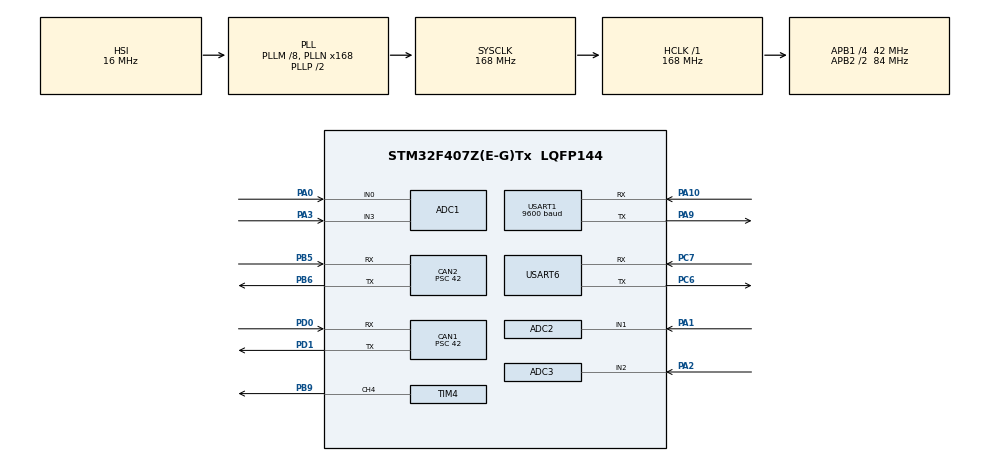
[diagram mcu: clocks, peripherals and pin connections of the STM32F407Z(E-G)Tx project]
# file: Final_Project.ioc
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ADC1.Channel-1\#ChannelRegularConversion=ADC_CHANNEL_0
ADC1.Channel-2\#ChannelRegularConversion=ADC_CHANNEL_3
ADC1.ContinuousConvMode=ENABLE
ADC1.DMAContinuousRequests=ENABLE
ADC1.NbrOfConversion=2
ADC1.NbrOfConversionFlag=1
ADC1.Rank-1\#ChannelRegularConversion=1
ADC1.Rank-2\#ChannelRegularConversion=2
ADC1.SamplingTime-1\#ChannelRegularConversion=ADC_SAMPLETIME_56CYCLES
ADC1.SamplingTime-2\#ChannelRegularConversion=ADC_SAMPLETIME_56CYCLES
ADC1.master=1
ADC2.Channel-0\#ChannelRegularConversion=ADC_CHANNEL_1
ADC2.ContinuousConvMode=ENABLE
ADC2.DMAContinuousRequests=ENABLE
ADC2.NbrOfConversionFlag=1
ADC2.Rank-0\#ChannelRegularConversion=1
ADC2.SamplingTime-0\#ChannelRegularConversion=ADC_SAMPLETIME_56CYCLES
ADC3.Channel-1\#ChannelRegularConversion=ADC_CHANNEL_2
ADC3.ContinuousConvMode=ENABLE
ADC3.DMAContinuousRequests=ENABLE
ADC3.NbrOfConversionFlag=1
ADC3.Rank-1\#ChannelRegularConversion=1
ADC3.SamplingTime-1\#ChannelRegularConversion=ADC_SAMPLETIME_56CYCLES
CAN1.CalculateBaudRate=333333
CAN1.CalculateTimeBit=3000
CAN1.CalculateTimeQuantum=1000.0
CAN1.NART=ENABLE
CAN1.Prescaler=42
CAN2.CalculateBaudRate=333333
CAN2.CalculateTimeBit=3000
CAN2.CalculateTimeQuantum=1000.0
CAN2.NART=ENABLE
CAN2.Prescaler=42
Dma.ADC1.0.Direction=DMA_PERIPH_TO_MEMORY
Dma.ADC1.0.FIFOMode=DMA_FIFOMODE_DISABLE
Dma.ADC1.0.Instance=DMA2_Stream0
Dma.ADC1.0.MemDataAlignment=DMA_MDATAALIGN_HALFWORD
Dma.ADC1.0.MemInc=DMA_MINC_ENABLE
Dma.ADC1.0.Mode=DMA_CIRCULAR
Dma.ADC1.0.PeriphDataAlignment=DMA_PDATAALIGN_HALFWORD
Dma.ADC1.0.PeriphInc=DMA_PINC_DISABLE
Dma.ADC1.0.Priority=DMA_PRIORITY_LOW
Dma.ADC2.1.Direction=DMA_PERIPH_TO_MEMORY
Dma.ADC2.1.FIFOMode=DMA_FIFOMODE_DISABLE
Dma.ADC2.1.Instance=DMA2_Stream2
Dma.ADC2.1.MemDataAlignment=DMA_MDATAALIGN_HALFWORD
Dma.ADC2.1.MemInc=DMA_MINC_ENABLE
Dma.ADC2.1.Mode=DMA_CIRCULAR
Dma.ADC2.1.PeriphDataAlignment=DMA_PDATAALIGN_HALFWORD
Dma.ADC2.1.PeriphInc=DMA_PINC_DISABLE
Dma.ADC2.1.Priority=DMA_PRIORITY_LOW
Dma.ADC3.2.Direction=DMA_PERIPH_TO_MEMORY
Dma.ADC3.2.FIFOMode=DMA_FIFOMODE_DISABLE
Dma.ADC3.2.Instance=DMA2_Stream1
Dma.ADC3.2.MemDataAlignment=DMA_MDATAALIGN_HALFWORD
Dma.ADC3.2.MemInc=DMA_MINC_ENABLE
Dma.ADC3.2.Mode=DMA_CIRCULAR
Dma.ADC3.2.PeriphDataAlignment=DMA_PDATAALIGN_HALFWORD
Dma.ADC3.2.PeriphInc=DMA_PINC_DISABLE
Dma.ADC3.2.Priority=DMA_PRIORITY_LOW
Dma.Request0=ADC1
Dma.Request1=ADC2
Dma.Request2=ADC3
Dma.Request3=USART1_RX
Dma.Request4=USART1_TX
Dma.USART1_RX.3.Direction=DMA_PERIPH_TO_MEMORY
Dma.USART1_RX.3.FIFOMode=DMA_FIFOMODE_DISABLE
Dma.USART1_RX.3.Instance=DMA2_Stream5
Dma.USART1_RX.3.MemDataAlignment=DMA_MDATAALIGN_BYTE
Dma.USART1_RX.3.MemInc=DMA_MINC_ENABLE
Dma.USART1_RX.3.Mode=DMA_NORMAL
Dma.USART1_RX.3.PeriphDataAlignment=DMA_PDATAALIGN_BYTE
Dma.USART1_RX.3.PeriphInc=DMA_PINC_DISABLE
Dma.USART1_RX.3.Priority=DMA_PRIORITY_LOW
Dma.USART1_TX.4.Direction=DMA_MEMORY_TO_PERIPH
Dma.USART1_TX.4.FIFOMode=DMA_FIFOMODE_DISABLE
Dma.USART1_TX.4.Instance=DMA2_Stream7
Dma.USART1_TX.4.MemDataAlignment=DMA_MDATAALIGN_BYTE
Dma.USART1_TX.4.MemInc=DMA_MINC_ENABLE
Dma.USART1_TX.4.Mode=DMA_NORMAL
Dma.USART1_TX.4.PeriphDataAlignment=DMA_PDATAALIGN_BYTE
Dma.USART1_TX.4.PeriphInc=DMA_PINC_DISABLE
Dma.USART1_TX.4.Priority=DMA_PRIORITY_LOW
FREERTOS.Tasks01=can1_Task,24,640,Start_can1_Task,Default,NULL,Dynamic,NULL,NULL;uart6_Task,24,640,Start_uart6_Task,Default,NULL,Dynamic,NULL,NULL;light_Task,16,256,Start_light_Task,Default,NULL,Dynamic,NULL,NULL
FREERTOS.configTOTAL_HEAP_SIZE=40*1024
FREERTOS.configUSE_NEWLIB_REENTRANT=1
Mcu.Family=STM32F4
Mcu.Name=STM32F407Z(E-G)Tx
Mcu.Package=LQFP144
NVIC.DMA2_Stream0_IRQn=true\:5\:0\:false\:false\:true\:true\:false\:true\:true
NVIC.DMA2_Stream1_IRQn=true\:5\:0\:false\:false\:true\:true\:false\:true\:true
NVIC.DMA2_Stream2_IRQn=true\:5\:0\:false\:false\:true\:true\:false\:true\:true
NVIC.DMA2_Stream5_IRQn=true\:5\:0\:false\:false\:true\:true\:false\:true\:true
NVIC.DMA2_Stream7_IRQn=true\:5\:0\:false\:false\:true\:true\:false\:true\:true
NVIC.PriorityGroup=NVIC_PRIORITYGROUP_4
NVIC.TIM1_UP_TIM10_IRQn=true\:15\:0\:false\:false\:true\:false\:false\:true\:true
NVIC.TimeBase=TIM1_UP_TIM10_IRQn
NVIC.TimeBaseIP=TIM1
NVIC.USART1_IRQn=true\:5\:0\:false\:false\:true\:true\:false\:true\:true
PA0-WKUP.Signal=ADCx_IN0
PA1.Signal=ADCx_IN1
PA10.Mode=Asynchronous
PA10.Signal=USART1_RX
PA13.Mode=Serial_Wire
PA13.Signal=SYS_JTMS-SWDIO
PA14.Mode=Serial_Wire
PA14.Signal=SYS_JTCK-SWCLK
PA2.Signal=ADCx_IN2
PA3.Signal=ADCx_IN3
PA9.Mode=Asynchronous
PA9.Signal=USART1_TX
PB5.Mode=CAN_Activate
PB5.Signal=CAN2_RX
PB6.Mode=CAN_Activate
PB6.Signal=CAN2_TX
PB9.Signal=S_TIM4_CH4
PC6.Mode=Asynchronous
PC6.Signal=USART6_TX
PC7.Mode=Asynchronous
PC7.Signal=USART6_RX
PD0.Mode=CAN_Activate
PD0.Signal=CAN1_RX
PD1.Mode=CAN_Activate
PD1.Signal=CAN1_TX
PH0-OSC_IN.Mode=HSE-External-Oscillator
PH0-OSC_IN.Signal=RCC_OSC_IN
PH1-OSC_OUT.Mode=HSE-External-Oscillator
PH1-OSC_OUT.Signal=RCC_OSC_OUT
ProjectManager.HeapSize=0x2000
ProjectManager.StackSize=0x1000
ProjectManager.TargetToolchain=STM32CubeIDE
RCC.48MHZClocksFreq_Value=84000000
RCC.AHBFreq_Value=168000000
RCC.APB1CLKDivider=RCC_HCLK_DIV4
RCC.APB1Freq_Value=42000000
RCC.APB1TimFreq_Value=84000000
RCC.APB2CLKDivider=RCC_HCLK_DIV2
RCC.APB2Freq_Value=84000000
RCC.APB2TimFreq_Value=168000000
RCC.CortexFreq_Value=168000000
RCC.HCLKFreq_Value=168000000
RCC.HSE_VALUE=8000000
RCC.HSI_VALUE=16000000
RCC.LSE_VALUE=32768
RCC.PLLM=8
RCC.PLLN=168
RCC.SYSCLKFreq_VALUE=168000000
RCC.SYSCLKSource=RCC_SYSCLKSOURCE_PLLCLK
RCC.VCOOutputFreq_Value=336000000
SH.ADCx_IN0.0=ADC1_IN0,IN0
SH.ADCx_IN1.0=ADC2_IN1,IN1
SH.ADCx_IN2.0=ADC3_IN2,IN2
SH.ADCx_IN3.0=ADC1_IN3,IN3
SH.S_TIM4_CH4.0=TIM4_CH4,PWM Generation4 CH4
TIM4.Channel-PWM\ Generation4\ CH4=TIM_CHANNEL_4
TIM4.Period=1000-1
TIM4.Prescaler=168-1
TIM6.Prescaler=168-1
USART1.BaudRate=9600
USART1.VirtualMode=VM_ASYNC
USART6.VirtualMode=VM_ASYNC
VP_FREERTOS_VS_CMSIS_V2.Mode=CMSIS_V2
VP_SYS_VS_tim1.Mode=TIM1
VP_TIM6_VS_ClockSourceINT.Mode=Enable_Timer
board=custom

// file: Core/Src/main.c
/* USER CODE BEGIN Header */
/**
  ******************************************************************************
  * @file           : main.c
  * @brief          : Main program body
  ******************************************************************************
  * @attention
  *
  * Copyright (c) 2025 STMicroelectronics.
  * All rights reserved.
  *
  * This software is licensed under terms that can be found in the LICENSE file
  * in the root directory of this software component.
  * If no LICENSE file comes with this software, it is provided AS-IS.
  *
  ******************************************************************************
  */
/* USER CODE END Header */
#include "main.h"
#include "cmsis_os.h"
#include "adc.h"
#include "can.h"
#include "dma.h"
#include "tim.h"
#include "usart.h"
#include "gpio.h"

/* USER CODE BEGIN Includes */
#include"../../bsp/can_ex.h"
/* USER CODE END Includes */

/* USER CODE BEGIN PV */
uint32_t adc_buffer_1[2]; //ADC1 IN0 + ADC1 IN3
uint32_t adc_buffer_2[1]; //ADC2 IN1
uint32_t adc_buffer_3[1]; //ADC3 IN2
uint8_t rx_buffer[10];
/* USER CODE END PV */

void SystemClock_Config(void);
void MX_FREERTOS_Init(void);

int main(void)
{

  /* MCU Configuration--------------------------------------------------------*/

  /* Reset of all peripherals, Initializes the Flash interface and the Systick. */
  HAL_Init();

  /* Configure the system clock */
  SystemClock_Config();

  /* Initialize all configured peripherals */
  MX_GPIO_Init();
  MX_DMA_Init();
  MX_TIM4_Init();
  MX_ADC1_Init();
  MX_ADC2_Init();
  MX_ADC3_Init();
  MX_USART1_UART_Init();
  MX_TIM6_Init();
  MX_CAN1_Init();
  MX_CAN2_Init();
  MX_USART6_UART_Init();
  /* USER CODE BEGIN 2 */

  //breathing lamp
  HAL_TIM_PWM_Start(&htim4, TIM_CHANNEL_4);

  //TTL read
  HAL_ADC_Start_DMA(&hadc1, adc_buffer_1, 2); //adc[0]: rank1; adc[1]: rank2.
  HAL_ADC_Start_DMA(&hadc2, adc_buffer_2, 1);
  HAL_ADC_Start_DMA(&hadc3, adc_buffer_3, 1);
  HAL_UARTEx_ReceiveToIdle_DMA(&huart1, rx_buffer, 10);

  //CAN init
  CAN1_TxHeaderType_Init(CAN_ID_STD,0x200,0x00);   //发�?�格式初始化
  CAN1_FilterTypeDef_Init();   //过滤器配置初始化
  CAN2_TxHeaderType_Init(CAN_ID_STD,0x200,0x00);
  CAN2_FilterTypeDef_Init();
  HAL_CAN_Start(&hcan1);    //�??启CAN1
  HAL_CAN_Start(&hcan2);

  /* USER CODE END 2 */

  /* Init scheduler */
  osKernelInitialize();

  /* Call init function for freertos objects (in cmsis_os2.c) */
  MX_FREERTOS_Init();

  /* Start scheduler */
  osKernelStart();

  /* We should never get here as control is now taken by the scheduler */

  /* Infinite loop */
  while (1)
  {

  }
}

void SystemClock_Config(void)
{
  RCC_OscInitTypeDef RCC_OscInitStruct = {0};
  RCC_ClkInitTypeDef RCC_ClkInitStruct = {0};

  /** Configure the main internal regulator output voltage
  */
  __HAL_RCC_PWR_CLK_ENABLE();
  __HAL_PWR_VOLTAGESCALING_CONFIG(PWR_REGULATOR_VOLTAGE_SCALE1);

  /** Initializes the RCC Oscillators according to the specified parameters
  * in the RCC_OscInitTypeDef structure.
  */
  RCC_OscInitStruct.OscillatorType = RCC_OSCILLATORTYPE_HSI;
  RCC_OscInitStruct.HSIState = RCC_HSI_ON;
  RCC_OscInitStruct.HSICalibrationValue = RCC_HSICALIBRATION_DEFAULT;
  RCC_OscInitStruct.PLL.PLLState = RCC_PLL_ON;
  RCC_OscInitStruct.PLL.PLLSource = RCC_PLLSOURCE_HSI;
  RCC_OscInitStruct.PLL.PLLM = 8;
  RCC_OscInitStruct.PLL.PLLN = 168;
  RCC_OscInitStruct.PLL.PLLP = RCC_PLLP_DIV2;
  RCC_OscInitStruct.PLL.PLLQ = 4;
  if (HAL_RCC_OscConfig(&RCC_OscInitStruct) != HAL_OK)
  {
    Error_Handler();
  }

  /** Initializes the CPU, AHB and APB buses clocks
  */
  RCC_ClkInitStruct.ClockType = RCC_CLOCKTYPE_HCLK|RCC_CLOCKTYPE_SYSCLK
                              |RCC_CLOCKTYPE_PCLK1|RCC_CLOCKTYPE_PCLK2;
  RCC_ClkInitStruct.SYSCLKSource = RCC_SYSCLKSOURCE_PLLCLK;
  RCC_ClkInitStruct.AHBCLKDivider = RCC_SYSCLK_DIV1;
  RCC_ClkInitStruct.APB1CLKDivider = RCC_HCLK_DIV4;
  RCC_ClkInitStruct.APB2CLKDivider = RCC_HCLK_DIV2;

  if (HAL_RCC_ClockConfig(&RCC_ClkInitStruct, FLASH_LATENCY_5) != HAL_OK)
  {
    Error_Handler();
  }
}

void HAL_TIM_PeriodElapsedCallback(TIM_HandleTypeDef *htim)
{
  if (htim->Instance == TIM1) {
    HAL_IncTick();
  }
}

void Error_Handler(void)
{
  __disable_irq();
  while (1)
  {
  }
}

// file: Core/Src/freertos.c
/* USER CODE BEGIN Header */
/**
  ******************************************************************************
  * File Name          : freertos.c
  * Description        : Code for freertos applications
  ******************************************************************************
  * @attention
  *
  * Copyright (c) 2025 STMicroelectronics.
  * All rights reserved.
  *
  * This software is licensed under terms that can be found in the LICENSE file
  * in the root directory of this software component.
  * If no LICENSE file comes with this software, it is provided AS-IS.
  *
  ******************************************************************************
  */
/* USER CODE END Header */

#include "FreeRTOS.h"
#include "task.h"
#include "main.h"
#include "cmsis_os.h"

/* USER CODE BEGIN Includes */
#include <string.h>

#include "../../bsp/led.h"
#include "tim.h"
#include "usart.h"
#include "../../bsp/can_ex.h"
#include "../../bsp/motor.h"
#include "../../bsp/pid.h"
/* USER CODE END Includes */

/* USER CODE BEGIN Variables */
uint8_t CAN1_Data[8] = {0};
uint8_t CAN2_Data[8] = {0};

float set_speed[4];
float set_angle[4];

enum __mode_t{
  speed_control = 0,
  angle_control
}control_mode;

extern CAN_FilterTypeDef can1_filter;
extern CAN_FilterTypeDef can2_filter;

extern CAN_TxHeaderTypeDef tx1_hdr;
extern CAN_RxHeaderTypeDef rx1_hdr;

extern CAN_TxHeaderTypeDef tx2_hdr;
extern CAN_RxHeaderTypeDef rx2_hdr;

extern uint32_t* CAN1_MailBox;
extern uint32_t* CAN2_MailBox;
/* USER CODE END Variables */
/* Definitions for can1_Task */
osThreadId_t can1_TaskHandle;
const osThreadAttr_t can1_Task_attributes = {
  .name = "can1_Task",
  .stack_size = 640 * 4,
  .priority = (osPriority_t) osPriorityNormal,
};
/* Definitions for uart6_Task */
osThreadId_t uart6_TaskHandle;
const osThreadAttr_t uart6_Task_attributes = {
  .name = "uart6_Task",
  .stack_size = 640 * 4,
  .priority = (osPriority_t) osPriorityNormal,
};
/* Definitions for light_Task */
osThreadId_t light_TaskHandle;
const osThreadAttr_t light_Task_attributes = {
  .name = "light_Task",
  .stack_size = 256 * 4,
  .priority = (osPriority_t) osPriorityBelowNormal,
};

void Start_can1_Task(void *argument);
void Start_uart6_Task(void *argument);
void Start_light_Task(void *argument);

void MX_FREERTOS_Init(void); /* (MISRA C 2004 rule 8.1) */

void MX_FREERTOS_Init(void) {

  /* Create the thread(s) */
  /* creation of can1_Task */
  can1_TaskHandle = osThreadNew(Start_can1_Task, NULL, &can1_Task_attributes);

  /* creation of uart6_Task */
  uart6_TaskHandle = osThreadNew(Start_uart6_Task, NULL, &uart6_Task_attributes);

  /* creation of light_Task */
  light_TaskHandle = osThreadNew(Start_light_Task, NULL, &light_Task_attributes);

}

void Start_can1_Task(void *argument)
{
  /* USER CODE BEGIN Start_can1_Task */

  pid_t pid_speed[4];		   //电机速度PID环（can be an array if it has multiple motor）,保留数组格式，实际只用一个
  pid_t pid_angle[4];
  float set_speed_temp;			   //加减速时的临时设定速度
  int16_t delta;					   //设定速度与实际速度的差值
  int16_t max_speed_change = 1000;   //电机单次最大变化速度，加减速用
  // 500经测试差不多是最大加速区间，即从零打到最大速度不异常的最大值

  for (char i = 0; i < 4; i++)
  {
    PID_struct_init(&pid_speed[i], POSITION_PID, 16384, 16384, 1.5f, 0.1f, 0.0f); //4 motos angular rate closeloop.
    pid_speed[i].deadband = 50;
  }
  for (char i = 0; i < 4; i++) {
    PID_struct_init(&pid_angle[i], POSITION_PID, 16384, 16384, 1.5f, 0.1f, 0.0f);
    pid_angle[i].deadband = 50;
  }

  /* Infinite loop */
  for(;;)
  {

    while (HAL_CAN_GetRxFifoFillLevel(&hcan1, CAN_RX_FIFO0) == 0);
    // 判断FIFO0是否有东西进来
    HAL_CAN_GetRxMessage(&hcan1, CAN_RX_FIFO0, &rx1_hdr, CAN1_Data);

    switch (control_mode) {

      case speed_control: {
        /****************speed control***********************/
        uint8_t num = rx1_hdr.StdId - 0x201;
        switch(rx1_hdr.StdId){
          case 0x201:
          case 0x202:
          case 0x203:
          case 0x204:
            if (moto_chassis[num].msg_cnt <= 50) {  //make little change, prohibit re-offset
              moto_chassis[num].msg_cnt++;
              get_moto_offset(&moto_chassis[num], CAN1_Data);
            }
            else get_moto_measure(&moto_chassis[num], CAN1_Data, rx1_hdr);
          break;
          default:break;
        }

        //PID计算输出，写5 多算了一个，避免最后一个电机不计算，这里是一个未知bug
        for (char i = 0; i < 5; i++)
        {
          //PID计算

          // 无加减速
          //pid_calc(&pid_speed[i], (float)moto_chassis[i].speed_rpm, set_speed[i]);

          //加减速
          delta = (int16_t)set_speed[i] - moto_chassis[i].speed_rpm;
          if (delta > max_speed_change)
            set_speed_temp = (float)(moto_chassis[i].speed_rpm + max_speed_change);
          else if (delta < -max_speed_change)
            set_speed_temp = (float)(moto_chassis[i].speed_rpm - max_speed_change);
          else
            set_speed_temp = set_speed[i];
          pid_calc(&pid_speed[i], (float)moto_chassis[i].speed_rpm, set_speed_temp);
        }

      }
      break;

      case angle_control: {
        /************************angle control****************************/
        uint8_t num = rx1_hdr.StdId - 0x201;
        switch(rx1_hdr.StdId){
          case 0x201:
          case 0x202:
          case 0x203:
          case 0x204:
            if (moto_chassis[num].msg_cnt <= 50) {  //make little change, forbidden re-offset
              moto_chassis[num].msg_cnt++;
              get_moto_offset(&moto_chassis[num], CAN1_Data);
            }
            else get_total_angle(&moto_chassis[num]);
          break;
          default:break;
        }

        for (char i = 0; i < 5; i++) {
          pid_calc(&pid_angle[i], moto_chassis[i].total_angle,set_angle[i]);
        }

      }
      break;
      default:break;
    }

    /******************sent message************************/
    set_moto_current(CAN1_Data, pid_speed[0].pos_out,
             pid_speed[1].pos_out,
             pid_speed[2].pos_out,
             pid_speed[3].pos_out);

    // 获取FIFO0的内容，存入Data之中，帧格式存入rec_msg_hdr之中

    HAL_CAN_AddTxMessage(&hcan1,&tx1_hdr,CAN1_Data,CAN1_MailBox);

  }
  /* USER CODE END Start_can1_Task */
}

void Start_uart6_Task(void *argument)
{
  /* USER CODE BEGIN Start_uart6_Task */
  uint8_t Data[4];
  /* Infinite loop */
  for(;;)
  {
    /*报文设计：
     *        头：
     *        0xaa
     *        数据：
     *        bite1：选择speed control或 angle control mode
     *        bite2、3: 指定电机
     *        bite4-16：电机角度/速度输出
     *        校验：
     *        校验和
     */
    HAL_UART_Receive(&huart6,Data,sizeof(Data),HAL_MAX_DELAY);
    if (Data[0] == 0xaa && (Data[0] + Data[1] + Data[2]) & 0xff == Data[3]) {
      control_mode = Data[1] & 0x80 ? speed_control : angle_control;
      static enum __mode_t last_mode = 2;
      if (last_mode != control_mode) {  //切换模式时使得moto_chassis重新初始化
        memset(moto_chassis, 0, sizeof(moto_chassis));
        last_mode = control_mode;
      }
      uint8_t motor_num = Data[1] & 0x60;
      switch(control_mode) {
        case speed_control: {
          set_speed[motor_num] = (Data[1] & 0x10 << 11) + (Data[1] & 0xf << 8)+ Data[2];  //第4位表示正负 总速度范围+-4095
        }
        break;
        case angle_control: {
          set_angle[motor_num] = (Data[1] & 0x1f << 8)+ Data[2];  //0-8191(360)
        }
        break;
      }
    }
    if (Data[0] == 0xaa && (Data[0] + Data[1] + Data[2]) & 0xff != Data[3]) {
      HAL_UART_Transmit(&huart6,"ERROR",5,HAL_MAX_DELAY);
    }
  }
  /* USER CODE END Start_uart6_Task */
}

void Start_light_Task(void *argument)
{
  /* USER CODE BEGIN Start_light_Task */
  /* Infinite loop */
  for(;;)
  {
    BreathingLamp_proc(&htim4, TIM_CHANNEL_4);
    osDelay(1);
  }
  /* USER CODE END Start_light_Task */
}
